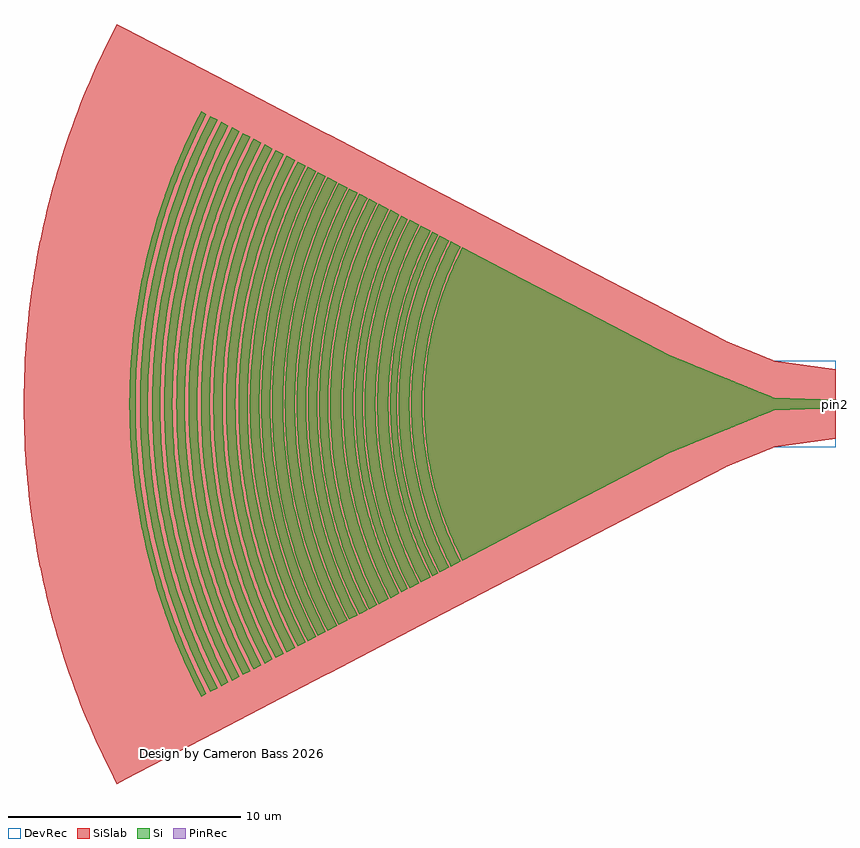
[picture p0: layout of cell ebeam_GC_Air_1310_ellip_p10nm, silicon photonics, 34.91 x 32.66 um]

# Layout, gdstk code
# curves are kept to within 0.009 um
import gdstk
lib = gdstk.Library(unit=1e-6, precision=1e-09)
def P(c, l, *ps):  # polygons
    for p in ps: c.add(gdstk.Polygon(p, *l))
Si = (1, 0)
PinRec = (1, 10)
SiSlab = (2, 0)
DevRec = (68, 0)

ebeam_gc_air_1310_ellip_ = lib.new_cell('ebeam_GC_Air_1310_ellip_p10nm')
P(ebeam_gc_air_1310_ellip_, Si, [(-16.052,-6.729),(-16.419,-5.973),(-16.793,-5.056),(-17.023,-4.387),(-17.288,-3.433),(-17.464,-2.603),(-17.591,-1.764),(-17.669,-0.919),(-17.697,-0.071),(-17.669,0.919),(-17.591,1.764),(-17.464,2.604),(-17.288,3.433),(-17.023,4.387),(-16.793,5.056),(-16.419,5.973),(-16.052,6.729),(-7.088,2.066),(-3.181,0.473),(-2.873,0.359),(-2.675,0.266),(0,0.175),(0,-0.175),(-2.674,-0.266),(-2.842,-0.346),(-3.196,-0.479),(-7.119,-2.079)],
  [(-16.544,-6.984),(-16.922,-6.203),(-17.259,-5.389),(-17.549,-4.556),(-17.789,-3.708),(-17.98,-2.848),(-18.12,-1.977),(-18.219,-0.955),(-18.249,-0.073),(-18.228,0.808),(-18.138,1.832),(-18.007,2.704),(-17.824,3.565),(-17.715,3.993),(-17.549,4.556),(-17.259,5.389),(-16.922,6.203),(-16.544,6.985),(-16.124,6.766),(-16.492,6.006),(-16.819,5.217),(-17.056,4.547),(-17.331,3.591),(-17.542,2.618),(-17.67,1.774),(-17.757,0.782),(-17.777,0.071),(-17.757,-0.782),(-17.67,-1.774),(-17.542,-2.617),(-17.365,-3.453),(-17.14,-4.276),(-16.869,-5.084),(-16.492,-6.006),(-16.124,-6.766)],
  [(-17.025,-7.235),(-17.416,-6.427),(-17.765,-5.584),(-18.065,-4.721),(-18.314,-3.842),(-18.511,-2.951),(-18.656,-2.049),(-18.749,-1.141),(-18.776,-0.684),(-18.79,-0.076),(-18.768,0.837),(-18.693,1.747),(-18.614,2.351),(-18.539,2.801),(-18.35,3.694),(-18.196,4.284),(-18.065,4.721),(-17.765,5.584),(-17.416,6.427),(-17.025,7.235),(-16.615,7.022),(-16.872,6.505),(-17.055,6.101),(-17.386,5.279),(-17.668,4.439),(-17.902,3.585),(-18.085,2.718),(-18.218,1.842),(-18.299,0.959),(-18.329,0.074),(-18.308,-0.811),(-18.218,-1.842),(-18.085,-2.718),(-17.902,-3.585),(-17.668,-4.439),(-17.386,-5.28),(-17.055,-6.101),(-16.872,-6.505),(-16.615,-7.022)],
  [(-17.345,-7.402),(-17.745,-6.575),(-18.102,-5.713),(-18.409,-4.83),(-18.664,-3.931),(-18.866,-3.019),(-18.947,-2.559),(-19.034,-1.942),(-19.12,-1.012),(-19.151,-0.078),(-19.129,0.857),(-19.034,1.942),(-18.894,2.866),(-18.701,3.78),(-18.585,4.233),(-18.409,4.83),(-18.102,5.713),(-17.745,6.576),(-17.345,7.402),(-17.097,7.272),(-17.551,6.32),(-17.946,5.326),(-18.095,4.891),(-18.272,4.305),(-18.391,3.863),(-18.529,3.266),(-18.693,2.362),(-18.789,1.604),(-18.848,0.841),(-18.87,0.077),(-18.855,-0.689),(-18.804,-1.451),(-18.715,-2.212),(-18.56,-3.116),(-18.463,-3.565),(-18.313,-4.157),(-17.997,-5.181),(-17.785,-5.754),(-17.551,-6.32),(-17.097,-7.272)],
  [(-17.841,-7.66),(-18.05,-7.243),(-18.319,-6.658),(-18.68,-5.761),(-18.989,-4.845),(-19.243,-3.912),(-19.443,-2.966),(-19.587,-2.01),(-19.676,-1.047),(-19.709,-0.08),(-19.685,0.886),(-19.606,1.85),(-19.471,2.808),(-19.35,3.441),(-19.243,3.912),(-18.989,4.845),(-18.68,5.761),(-18.506,6.213),(-18.254,6.806),(-17.841,7.66),(-17.417,7.439),(-17.818,6.609),(-18.177,5.741),(-18.438,5.004),(-18.741,3.951),(-18.973,2.88),(-19.113,1.952),(-19.177,1.329),(-19.209,0.86),(-19.231,0.078),(-19.209,-0.86),(-19.177,-1.329),(-19.113,-1.952),(-18.973,-2.88),(-18.778,-3.799),(-18.531,-4.705),(-18.232,-5.595),(-17.882,-6.466),(-17.417,-7.439)],
  [(-18.321,-7.91),(-18.748,-7.027),(-19.008,-6.415),(-19.187,-5.95),(-19.507,-5.003),(-19.769,-4.039),(-19.975,-3.063),(-20.125,-2.075),(-20.216,-1.082),(-20.25,-0.083),(-20.226,0.916),(-20.144,1.91),(-20.032,2.735),(-19.945,3.227),(-19.808,3.878),(-19.645,4.524),(-19.507,5.003),(-19.187,5.949),(-19.008,6.415),(-18.748,7.028),(-18.321,7.91),(-17.914,7.698),(-18.329,6.839),(-18.521,6.393),(-18.757,5.789),(-19.066,4.869),(-19.322,3.932),(-19.523,2.98),(-19.668,2.02),(-19.758,1.052),(-19.791,0.081),(-19.767,-0.891),(-19.687,-1.859),(-19.603,-2.501),(-19.523,-2.98),(-19.322,-3.931),(-19.066,-4.868),(-18.757,-5.79),(-18.329,-6.839),(-17.914,-7.698)],
  [(-18.683,-8.098),(-19.12,-7.194),(-19.511,-6.25),(-19.847,-5.284),(-20.039,-4.631),(-20.166,-4.135),(-20.377,-3.136),(-20.53,-2.124),(-20.624,-1.107),(-20.658,-0.085),(-20.634,0.937),(-20.55,1.956),(-20.407,2.968),(-20.279,3.637),(-20.166,4.135),(-20.039,4.631),(-19.847,5.284),(-19.511,6.25),(-19.12,7.194),(-18.683,8.098),(-18.393,7.948),(-18.682,7.365),(-18.956,6.754),(-19.145,6.29),(-19.377,5.663),(-19.534,5.186),(-19.722,4.544),(-19.886,3.896),(-19.992,3.406),(-20.137,2.582),(-20.242,1.753),(-20.307,0.919),(-20.331,0.084),(-20.307,-0.919),(-20.242,-1.753),(-20.137,-2.582),(-19.992,-3.406),(-19.886,-3.896),(-19.722,-4.544),(-19.534,-5.186),(-19.377,-5.663),(-18.956,-6.754),(-18.682,-7.365),(-18.393,-7.947)],
  [(-19.141,-8.337),(-19.591,-7.407),(-19.866,-6.761),(-20.055,-6.27),(-20.391,-5.273),(-20.668,-4.257),(-20.885,-3.228),(-21.043,-2.187),(-21.139,-1.14),(-21.175,-0.088),(-21.165,0.614),(-21.139,1.14),(-21.043,2.187),(-20.885,3.228),(-20.668,4.257),(-20.391,5.273),(-20.055,6.27),(-19.662,7.247),(-19.445,7.725),(-19.141,8.337),(-18.756,8.136),(-19.195,7.228),(-19.463,6.597),(-19.647,6.118),(-19.974,5.145),(-20.245,4.155),(-20.457,3.15),(-20.611,2.135),(-20.705,1.112),(-20.74,0.086),(-20.715,-0.941),(-20.631,-1.965),(-20.487,-2.981),(-20.393,-3.486),(-20.245,-4.155),(-19.974,-5.145),(-19.647,-6.119),(-19.264,-7.071),(-19.052,-7.539),(-18.756,-8.136)],
  [(-19.64,-8.597),(-20.102,-7.64),(-20.517,-6.638),(-20.873,-5.612),(-21.169,-4.567),(-21.403,-3.508),(-21.576,-2.436),(-21.686,-1.356),(-21.717,-0.814),(-21.735,-0.09),(-21.709,0.995),(-21.619,2.077),(-21.468,3.152),(-21.332,3.862),(-21.212,4.392),(-20.927,5.439),(-20.702,6.127),(-20.517,6.638),(-20.102,7.64),(-19.64,8.597),(-19.214,8.375),(-19.665,7.44),(-20.07,6.463),(-20.363,5.633),(-20.567,4.958),(-20.704,4.448),(-20.932,3.416),(-21.101,2.373),(-21.179,1.672),(-21.22,1.144),(-21.256,0.088),(-21.251,-0.441),(-21.22,-1.144),(-21.123,-2.197),(-20.965,-3.242),(-20.746,-4.277),(-20.468,-5.296),(-20.307,-5.8),(-20.07,-6.463),(-19.665,-7.44),(-19.214,-8.375)],
  [(-20.055,-8.813),(-20.53,-7.83),(-20.955,-6.803),(-21.321,-5.751),(-21.624,-4.68),(-21.864,-3.595),(-22.041,-2.496),(-22.154,-1.39),(-22.186,-0.834),(-22.204,-0.093),(-22.177,1.02),(-22.086,2.128),(-22.016,2.68),(-21.898,3.413),(-21.668,4.501),(-21.48,5.219),(-21.321,5.751),(-20.955,6.803),(-20.53,7.83),(-20.055,8.813),(-19.716,8.636),(-20.18,7.674),(-20.597,6.666),(-20.954,5.637),(-21.251,4.588),(-21.487,3.523),(-21.581,2.986),(-21.683,2.267),(-21.783,1.18),(-21.82,0.091),(-21.81,-0.636),(-21.741,-1.724),(-21.636,-2.627),(-21.452,-3.701),(-21.336,-4.234),(-21.159,-4.939),(-20.954,-5.636),(-20.723,-6.326),(-20.465,-7.004),(-20.254,-7.507),(-19.95,-8.168),(-19.716,-8.636)],
  [(-20.475,-9.033),(-20.963,-8.023),(-21.399,-6.97),(-21.773,-5.893),(-22.084,-4.796),(-22.215,-4.241),(-22.365,-3.497),(-22.535,-2.369),(-22.64,-1.235),(-22.679,-0.095),(-22.651,1.045),(-22.557,2.181),(-22.398,3.31),(-22.294,3.87),(-22.129,4.612),(-21.937,5.347),(-21.773,5.893),(-21.399,6.97),(-20.963,8.023),(-20.475,9.033),(-20.128,8.851),(-20.605,7.863),(-21.032,6.831),(-21.397,5.776),(-21.607,5.061),(-21.747,4.52),(-21.978,3.427),(-22.145,2.323),(-22.247,1.209),(-22.275,0.652),(-22.285,0.093),(-22.267,-0.838),(-22.204,-1.767),(-22.096,-2.692),(-21.908,-3.793),(-21.79,-4.339),(-21.607,-5.061),(-21.452,-5.598),(-21.223,-6.306),(-20.965,-7.004),(-20.754,-7.522),(-20.449,-8.202),(-20.128,-8.851)],
  [(-20.91,-9.258),(-21.411,-8.221),(-21.857,-7.143),(-22.241,-6.039),(-22.56,-4.915),(-22.694,-4.346),(-22.848,-3.583),(-23.023,-2.428),(-23.13,-1.265),(-23.169,-0.097),(-23.164,0.487),(-23.13,1.265),(-23.023,2.428),(-22.848,3.584),(-22.606,4.726),(-22.299,5.853),(-21.926,6.96),(-21.49,8.044),(-21.164,8.751),(-20.91,9.258),(-20.552,9.071),(-20.883,8.403),(-21.119,7.882),(-21.547,6.819),(-21.911,5.735),(-22.213,4.631),(-22.45,3.511),(-22.621,2.38),(-22.726,1.239),(-22.765,0.096),(-22.746,-0.859),(-22.682,-1.81),(-22.571,-2.758),(-22.378,-3.886),(-22.213,-4.631),(-22.07,-5.185),(-21.855,-5.917),(-21.676,-6.461),(-21.48,-6.998),(-21.195,-7.706),(-20.883,-8.403),(-20.552,-9.071)],
  [(-21.361,-9.493),(-21.622,-8.974),(-21.874,-8.431),(-22.332,-7.325),(-22.726,-6.193),(-22.951,-5.427),(-23.1,-4.846),(-23.348,-3.675),(-23.527,-2.49),(-23.637,-1.297),(-23.677,-0.1),(-23.672,0.499),(-23.637,1.298),(-23.527,2.49),(-23.348,3.675),(-23.1,4.846),(-22.951,5.427),(-22.726,6.193),(-22.332,7.325),(-21.874,8.431),(-21.622,8.974),(-21.361,9.493),(-20.982,9.295),(-21.485,8.255),(-21.934,7.171),(-22.318,6.063),(-22.486,5.501),(-22.684,4.745),(-22.927,3.597),(-23.103,2.438),(-23.21,1.27),(-23.239,0.685),(-23.25,0.098),(-23.245,-0.489),(-23.222,-1.074),(-23.165,-1.855),(-23.103,-2.438),(-22.927,-3.597),(-22.684,-4.745),(-22.486,-5.501),(-22.318,-6.063),(-21.934,-7.17),(-21.485,-8.255),(-20.982,-9.295)],
  [(-21.849,-9.746),(-22.115,-9.216),(-22.374,-8.658),(-22.618,-8.094),(-22.844,-7.522),(-23.249,-6.36),(-23.584,-5.176),(-23.769,-4.377),(-23.887,-3.774),(-24.071,-2.557),(-24.184,-1.332),(-24.214,-0.717),(-24.225,-0.102),(-24.196,1.127),(-24.095,2.354),(-23.988,3.166),(-23.887,3.774),(-23.769,4.377),(-23.633,4.977),(-23.48,5.574),(-23.249,6.36),(-22.844,7.523),(-22.618,8.094),(-22.374,8.659),(-21.849,9.747),(-21.433,9.53),(-21.948,8.464),(-22.408,7.353),(-22.742,6.408),(-22.919,5.834),(-23.13,5.061),(-23.269,4.475),(-23.39,3.886),(-23.582,2.699),(-23.704,1.502),(-23.739,0.902),(-23.758,0.1),(-23.729,-1.102),(-23.671,-1.902),(-23.607,-2.5),(-23.427,-3.689),(-23.178,-4.866),(-22.861,-6.026),(-22.679,-6.598),(-22.479,-7.165),(-22.029,-8.281),(-21.781,-8.829),(-21.433,-9.53)],
  [(-22.263,-9.962),(-22.535,-9.419),(-22.8,-8.849),(-23.049,-8.272),(-23.281,-7.688),(-23.495,-7.097),(-23.756,-6.3),(-24.087,-5.087),(-24.346,-3.857),(-24.449,-3.237),(-24.534,-2.613),(-24.601,-1.988),(-24.65,-1.362),(-24.692,-0.105),(-24.686,0.524),(-24.662,1.152),(-24.559,2.405),(-24.48,3.029),(-24.383,3.651),(-24.268,4.269),(-24.087,5.087),(-23.756,6.3),(-23.563,6.899),(-23.281,7.688),(-23.049,8.273),(-22.8,8.85),(-22.263,9.962),(-21.921,9.784),(-22.276,9.066),(-22.531,8.504),(-22.846,7.743),(-23.063,7.165),(-23.263,6.581),(-23.501,5.793),(-23.661,5.197),(-23.847,4.394),(-23.966,3.788),(-24.067,3.178),(-24.196,2.158),(-24.276,1.131),(-24.306,0.103),(-24.3,-0.515),(-24.276,-1.132),(-24.196,-2.158),(-24.067,-3.179),(-23.966,-3.788),(-23.847,-4.394),(-23.661,-5.197),(-23.501,-5.792),(-23.263,-6.58),(-23.063,-7.165),(-22.77,-7.934),(-22.531,-8.503),(-22.276,-9.066),(-21.921,-9.784)],
  [(-22.697,-10.188),(-22.977,-9.631),(-23.248,-9.048),(-23.503,-8.458),(-23.74,-7.861),(-24.162,-6.646),(-24.404,-5.824),(-24.564,-5.201),(-24.706,-4.574),(-24.829,-3.944),(-24.935,-3.31),(-25.022,-2.672),(-25.09,-2.033),(-25.14,-1.392),(-25.171,-0.75),(-25.183,-0.107),(-25.177,0.536),(-25.152,1.179),(-25.109,1.82),(-25.047,2.459),(-24.966,3.097),(-24.867,3.733),(-24.706,4.574),(-24.564,5.201),(-24.404,5.824),(-24.162,6.646),(-23.74,7.861),(-23.503,8.458),(-23.248,9.048),(-22.977,9.631),(-22.697,10.188),(-22.338,10.001),(-22.702,9.266),(-22.963,8.691),(-23.285,7.913),(-23.506,7.323),(-23.71,6.726),(-23.954,5.92),(-24.118,5.31),(-24.308,4.491),(-24.5,3.457),(-24.643,2.415),(-24.734,1.366),(-24.765,0.737),(-24.777,0.105),(-24.757,-0.946),(-24.72,-1.576),(-24.665,-2.205),(-24.533,-3.248),(-24.35,-4.285),(-24.217,-4.902),(-24.011,-5.717),(-23.774,-6.525),(-23.506,-7.323),(-23.285,-7.913),(-22.963,-8.691),(-22.702,-9.266),(-22.338,-10.001)],
  [(-23.129,-10.413),(-23.418,-9.838),(-23.695,-9.243),(-23.955,-8.64),(-24.198,-8.03),(-24.63,-6.789),(-24.818,-6.16),(-24.988,-5.525),(-25.139,-4.887),(-25.272,-4.244),(-25.386,-3.597),(-25.481,-2.947),(-25.557,-2.295),(-25.629,-1.422),(-25.661,-0.766),(-25.673,-0.109),(-25.667,0.547),(-25.642,1.204),(-25.597,1.859),(-25.534,2.512),(-25.451,3.164),(-25.312,4.029),(-25.185,4.673),(-25.04,5.313),(-24.876,5.95),(-24.694,6.58),(-24.493,7.206),(-24.275,7.825),(-24.038,8.438),(-23.784,9.043),(-23.513,9.641),(-23.129,10.413),(-22.786,10.235),(-23.16,9.478),(-23.513,8.693),(-23.757,8.095),(-23.983,7.491),(-24.257,6.675),(-24.442,6.056),(-24.661,5.224),(-24.804,4.594),(-25.001,3.536),(-25.094,2.898),(-25.169,2.256),(-25.252,1.183),(-25.284,0.108),(-25.263,-0.968),(-25.169,-2.256),(-25.094,-2.897),(-25.001,-3.536),(-24.804,-4.594),(-24.661,-5.224),(-24.442,-6.056),(-24.257,-6.675),(-23.983,-7.491),(-23.757,-8.095),(-23.427,-8.89),(-23.16,-9.478),(-22.786,-10.234)],
  [(-23.598,-10.658),(-23.897,-10.063),(-24.181,-9.455),(-24.447,-8.838),(-24.695,-8.214),(-24.925,-7.582),(-25.137,-6.945),(-25.33,-6.301),(-25.504,-5.652),(-25.659,-4.998),(-25.794,-4.341),(-25.946,-3.457),(-26.037,-2.792),(-26.108,-2.124),(-26.16,-1.455),(-26.193,-0.783),(-26.206,-0.112),(-26.199,0.56),(-26.173,1.231),(-26.128,1.902),(-26.063,2.57),(-25.978,3.236),(-25.874,3.901),(-25.706,4.78),(-25.557,5.435),(-25.39,6.086),(-25.203,6.731),(-25.069,7.158),(-24.774,8.004),(-24.532,8.631),(-24.272,9.25),(-23.994,9.862),(-23.598,10.658),(-23.244,10.473),(-23.535,9.893),(-23.903,9.093),(-24.159,8.484),(-24.472,7.662),(-24.686,7.037),(-24.942,6.194),(-25.166,5.343),(-25.312,4.699),(-25.514,3.616),(-25.663,2.526),(-25.726,1.869),(-25.771,1.21),(-25.803,0.11),(-25.782,-0.991),(-25.744,-1.649),(-25.686,-2.307),(-25.548,-3.399),(-25.439,-4.05),(-25.312,-4.699),(-25.166,-5.343),(-24.942,-6.194),(-24.752,-6.827),(-24.472,-7.661),(-24.159,-8.484),(-23.903,-9.093),(-23.535,-9.893),(-23.244,-10.473)],
  [(-24.081,-10.909),(-24.39,-10.295),(-24.68,-9.672),(-24.953,-9.041),(-25.207,-8.403),(-25.442,-7.757),(-25.727,-6.886),(-25.918,-6.226),(-26.089,-5.56),(-26.241,-4.89),(-26.374,-4.216),(-26.487,-3.538),(-26.58,-2.856),(-26.653,-2.173),(-26.706,-1.488),(-26.74,-0.801),(-26.753,-0.114),(-26.746,0.573),(-26.72,1.26),(-26.673,1.945),(-26.58,2.857),(-26.487,3.538),(-26.374,4.216),(-26.241,4.89),(-26.089,5.56),(-25.918,6.226),(-25.727,6.886),(-25.442,7.757),(-25.207,8.403),(-24.953,9.042),(-24.68,9.672),(-24.39,10.295),(-24.081,10.909),(-23.732,10.727),(-24.13,9.924),(-24.41,9.308),(-24.756,8.475),(-24.993,7.843),(-25.212,7.203),(-25.474,6.34),(-25.704,5.469),(-25.853,4.81),(-26.06,3.702),(-26.213,2.586),(-26.311,1.463),(-26.344,0.789),(-26.357,0.113),(-26.335,-1.014),(-26.237,-2.362),(-26.095,-3.479),(-25.899,-4.589),(-25.756,-5.25),(-25.535,-6.123),(-25.28,-6.988),(-24.993,-7.843),(-24.756,-8.475),(-24.41,-9.308),(-24.033,-10.127),(-23.732,-10.727)],
  [(-24.551,-11.154),(-24.869,-10.523),(-25.166,-9.886),(-25.445,-9.241),(-25.704,-8.589),(-25.945,-7.928),(-26.167,-7.262),(-26.431,-6.364),(-26.607,-5.683),(-26.762,-4.998),(-26.898,-4.309),(-27.013,-3.616),(-27.108,-2.92),(-27.183,-2.221),(-27.238,-1.521),(-27.272,-0.819),(-27.285,-0.117),(-27.272,0.819),(-27.238,1.522),(-27.183,2.222),(-27.108,2.92),(-27.013,3.615),(-26.898,4.309),(-26.762,4.998),(-26.607,5.683),(-26.431,6.364),(-26.167,7.262),(-25.945,7.928),(-25.704,8.589),(-25.445,9.242),(-25.166,9.886),(-24.869,10.523),(-24.551,11.154),(-24.213,10.978),(-24.624,10.151),(-24.911,9.521),(-25.179,8.883),(-25.507,8.022),(-25.731,7.368),(-25.999,6.486),(-26.179,5.817),(-26.387,4.92),(-26.599,3.787),(-26.755,2.645),(-26.856,1.497),(-26.889,0.807),(-26.902,0.115),(-26.896,-0.576),(-26.869,-1.268),(-26.779,-2.416),(-26.699,-3.103),(-26.599,-3.787),(-26.387,-4.92),(-26.179,-5.817),(-25.999,-6.485),(-25.801,-7.148),(-25.507,-8.022),(-25.179,-8.883),(-24.911,-9.521),(-24.624,-10.151),(-24.213,-10.978)],
  [(-25.024,-11.4),(-25.35,-10.753),(-25.654,-10.103),(-25.938,-9.444),(-26.204,-8.777),(-26.449,-8.102),(-26.676,-7.421),(-26.883,-6.733),(-27.069,-6.039),(-27.234,-5.341),(-27.38,-4.638),(-27.504,-3.932),(-27.609,-3.221),(-27.692,-2.508),(-27.755,-1.793),(-27.806,-0.837),(-27.82,-0.12),(-27.813,0.598),(-27.785,1.316),(-27.736,2.032),(-27.667,2.746),(-27.576,3.458),(-27.424,4.403),(-27.285,5.108),(-27.126,5.807),(-26.947,6.503),(-26.747,7.193),(-26.527,7.876),(-26.204,8.777),(-25.938,9.444),(-25.654,10.103),(-25.35,10.753),(-25.024,11.4),(-24.693,11.228),(-25.013,10.592),(-25.408,9.735),(-25.682,9.083),(-26.018,8.203),(-26.247,7.534),(-26.521,6.632),(-26.705,5.949),(-26.918,5.031),(-27.134,3.872),(-27.294,2.705),(-27.363,2.001),(-27.411,1.295),(-27.445,0.118),(-27.438,-0.589),(-27.411,-1.295),(-27.319,-2.47),(-27.171,-3.639),(-27.055,-4.337),(-26.918,-5.031),(-26.705,-5.949),(-26.521,-6.631),(-26.247,-7.534),(-26.018,-8.203),(-25.682,-9.083),(-25.408,-9.735),(-25.013,-10.592),(-24.693,-11.227)],
  [(-25.486,-11.64),(-25.819,-10.979),(-26.129,-10.315),(-26.419,-9.642),(-26.69,-8.961),(-26.941,-8.272),(-27.173,-7.577),(-27.384,-6.875),(-27.574,-6.166),(-27.795,-5.215),(-27.936,-4.496),(-28.057,-3.772),(-28.156,-3.046),(-28.234,-2.318),(-28.291,-1.587),(-28.326,-0.855),(-28.341,-0.122),(-28.326,0.855),(-28.291,1.587),(-28.234,2.318),(-28.156,3.046),(-28.057,3.772),(-27.936,4.496),(-27.795,5.215),(-27.632,5.929),(-27.449,6.64),(-27.246,7.343),(-27.021,8.041),(-26.69,8.962),(-26.419,9.642),(-26.129,10.315),(-25.819,10.979),(-25.486,11.64),(-25.167,11.474),(-25.599,10.606),(-25.898,9.948),(-26.268,9.058),(-26.522,8.382),(-26.756,7.698),(-27.036,6.777),(-27.282,5.846),(-27.442,5.141),(-27.663,3.957),(-27.768,3.242),(-27.852,2.525),(-27.945,1.324),(-27.98,0.121),(-27.957,-1.084),(-27.915,-1.804),(-27.852,-2.524),(-27.768,-3.242),(-27.663,-3.956),(-27.442,-5.14),(-27.224,-6.079),(-27.036,-6.776),(-26.829,-7.469),(-26.522,-8.382),(-26.268,-9.058),(-25.898,-9.948),(-25.599,-10.606),(-25.167,-11.474)],
  [(-25.951,-11.882),(-26.291,-11.207),(-26.608,-10.529),(-26.904,-9.843),(-27.181,-9.148),(-27.437,-8.444),(-27.674,-7.734),(-27.889,-7.018),(-28.083,-6.294),(-28.308,-5.323),(-28.453,-4.589),(-28.575,-3.851),(-28.677,-3.109),(-28.757,-2.366),(-28.815,-1.62),(-28.851,-0.872),(-28.865,-0.125),(-28.851,0.872),(-28.815,1.62),(-28.757,2.366),(-28.677,3.11),(-28.575,3.851),(-28.453,4.589),(-28.308,5.323),(-28.142,6.052),(-27.956,6.778),(-27.748,7.496),(-27.518,8.208),(-27.181,9.148),(-26.904,9.843),(-26.608,10.529),(-26.291,11.207),(-25.951,11.883),(-25.637,11.719),(-25.972,11.054),(-26.384,10.16),(-26.67,9.479),(-27.021,8.56),(-27.26,7.862),(-27.547,6.921),(-27.797,5.97),(-27.961,5.25),(-28.186,4.041),(-28.353,2.823),(-28.425,2.088),(-28.475,1.352),(-28.511,0.123),(-28.487,-1.107),(-28.444,-1.843),(-28.379,-2.578),(-28.224,-3.798),(-28.103,-4.525),(-27.961,-5.25),(-27.797,-5.97),(-27.547,-6.92),(-27.26,-7.862),(-27.021,-8.56),(-26.67,-9.479),(-26.384,-10.159),(-25.972,-11.053),(-25.637,-11.719)],
  [(-26.41,-12.121),(-26.757,-11.432),(-27.08,-10.741),(-27.382,-10.04),(-27.664,-9.331),(-27.926,-8.613),(-28.167,-7.889),(-28.386,-7.158),(-28.584,-6.421),(-28.814,-5.43),(-28.962,-4.681),(-29.087,-3.929),(-29.19,-3.172),(-29.272,-2.413),(-29.331,-1.653),(-29.368,-0.89),(-29.383,-0.127),(-29.375,0.636),(-29.346,1.399),(-29.294,2.16),(-29.22,2.92),(-29.124,3.676),(-28.962,4.681),(-28.814,5.43),(-28.645,6.174),(-28.455,6.914),(-28.243,7.647),(-28.008,8.373),(-27.754,9.092),(-27.479,9.805),(-27.08,10.741),(-26.757,11.432),(-26.41,12.121),(-26.106,11.963),(-26.557,11.057),(-26.869,10.371),(-27.254,9.443),(-27.519,8.739),(-27.763,8.026),(-28.056,7.065),(-28.251,6.337),(-28.425,5.605),(-28.578,4.867),(-28.709,4.125),(-28.879,2.882),(-28.989,1.631),(-29.025,0.879),(-29.04,0.126),(-29.032,-0.628),(-29.003,-1.381),(-28.906,-2.632),(-28.818,-3.38),(-28.709,-4.125),(-28.478,-5.359),(-28.251,-6.337),(-28.056,-7.064),(-27.839,-7.786),(-27.519,-8.738),(-27.254,-9.443),(-26.869,-10.371),(-26.557,-11.057),(-26.106,-11.963)],
  [(-26.88,-12.366),(-27.339,-11.443),(-27.661,-10.734),(-27.963,-10.015),(-28.244,-9.287),(-28.503,-8.553),(-28.742,-7.811),(-28.958,-7.062),(-29.153,-6.306),(-29.325,-5.546),(-29.475,-4.782),(-29.603,-4.013),(-29.709,-3.24),(-29.791,-2.465),(-29.852,-1.688),(-29.89,-0.909),(-29.905,-0.13),(-29.89,0.909),(-29.852,1.688),(-29.791,2.465),(-29.709,3.24),(-29.603,4.012),(-29.475,4.782),(-29.325,5.547),(-29.153,6.306),(-28.958,7.062),(-28.742,7.811),(-28.503,8.553),(-28.244,9.288),(-27.963,10.015),(-27.661,10.734),(-27.339,11.443),(-26.88,12.367),(-26.573,12.207),(-27.033,11.282),(-27.352,10.582),(-27.745,9.635),(-28.015,8.916),(-28.264,8.189),(-28.491,7.454),(-28.762,6.467),(-28.939,5.719),(-29.187,4.461),(-29.306,3.703),(-29.403,2.94),(-29.477,2.175),(-29.529,1.408),(-29.567,0.128),(-29.542,-1.152),(-29.497,-1.919),(-29.43,-2.685),(-29.269,-3.955),(-29.142,-4.714),(-28.994,-5.468),(-28.762,-6.466),(-28.562,-7.208),(-28.342,-7.945),(-28.015,-8.916),(-27.745,-9.635),(-27.352,-10.582),(-27.033,-11.282),(-26.573,-12.206)],
  [(-27.278,-12.574),(-27.638,-11.857),(-27.973,-11.14),(-28.286,-10.414),(-28.578,-9.678),(-28.835,-8.975),(-29.099,-8.183),(-29.326,-7.425),(-29.531,-6.66),(-29.713,-5.89),(-29.873,-5.115),(-30.011,-4.335),(-30.126,-3.552),(-30.243,-2.503),(-30.299,-1.795),(-30.343,-0.923),(-30.358,-0.132),(-30.35,0.659),(-30.32,1.451),(-30.266,2.241),(-30.159,3.29),(-30.052,4.074),(-29.922,4.856),(-29.769,5.632),(-29.594,6.404),(-29.397,7.171),(-29.099,8.183),(-28.835,8.975),(-28.578,9.679),(-28.286,10.414),(-27.973,11.141),(-27.638,11.858),(-27.278,12.574),(-27.052,12.456),(-27.513,11.526),(-27.838,10.811),(-28.239,9.844),(-28.515,9.109),(-28.769,8.366),(-29.074,7.364),(-29.277,6.607),(-29.458,5.843),(-29.617,5.073),(-29.753,4.3),(-29.93,3.004),(-30.045,1.7),(-30.083,0.916),(-30.098,0.131),(-30.073,-1.178),(-30.027,-1.961),(-29.958,-2.743),(-29.867,-3.523),(-29.753,-4.3),(-29.617,-5.073),(-29.458,-5.842),(-29.277,-6.607),(-29.074,-7.364),(-28.848,-8.117),(-28.515,-9.109),(-28.239,-9.844),(-27.838,-10.811),(-27.513,-11.526),(-27.052,-12.456)])
P(ebeam_gc_air_1310_ellip_, SiSlab, [(-30.904,-16.329),(-31.366,-15.41),(-31.801,-14.477),(-32.208,-13.533),(-32.588,-12.577),(-32.94,-11.61),(-33.264,-10.634),(-33.559,-9.648),(-33.825,-8.655),(-34.062,-7.654),(-34.27,-6.647),(-34.449,-5.634),(-34.598,-4.616),(-34.717,-3.594),(-34.807,-2.569),(-34.867,-1.543),(-34.9,-0.171),(-34.89,0.857),(-34.85,1.885),(-34.781,2.912),(-34.681,3.935),(-34.552,4.956),(-34.393,5.972),(-34.135,7.319),(-33.907,8.322),(-33.651,9.318),(-33.365,10.307),(-33.051,11.286),(-32.709,12.256),(-32.338,13.216),(-31.94,14.164),(-31.366,15.41),(-30.904,16.329),(-4.744,2.708),(-2.65,1.855),(0,1.5),(0,-1.5),(-2.65,-1.855),(-4.728,-2.7)])
P(ebeam_gc_air_1310_ellip_, DevRec, [(-30.904,-16.329),(-31.366,-15.41),(-31.801,-14.477),(-32.208,-13.533),(-32.588,-12.577),(-32.94,-11.61),(-33.264,-10.634),(-33.559,-9.648),(-33.825,-8.655),(-34.062,-7.654),(-34.27,-6.647),(-34.449,-5.634),(-34.598,-4.616),(-34.717,-3.594),(-34.807,-2.569),(-34.867,-1.543),(-34.9,-0.171),(-34.89,0.857),(-34.85,1.885),(-34.781,2.912),(-34.681,3.935),(-34.552,4.956),(-34.393,5.972),(-34.135,7.319),(-33.907,8.322),(-33.651,9.318),(-33.365,10.307),(-33.051,11.286),(-32.709,12.256),(-32.338,13.216),(-31.94,14.164),(-31.366,15.41),(-30.904,16.329),(-4.744,2.708),(-2.65,1.855),(0,1.855),(0,-1.855),(-2.65,-1.855),(-4.728,-2.7)])
ebeam_gc_air_1310_ellip_.add(gdstk.FlexPath([(-0.01,0),(0.01,0)], 0.35, ends="flush", simple_path=True, layer=1, datatype=10))  # PinRec
ebeam_gc_air_1310_ellip_.add(gdstk.Label('pin2', (0,0), layer=1, texttype=10))
ebeam_gc_air_1310_ellip_.add(gdstk.Label('Design by Cameron Bass 2026', (-25.94,-15.02), layer=10, texttype=0))

lib.write_gds('ebeam_GC_Air_1310_ellip_p10nm.gds')
